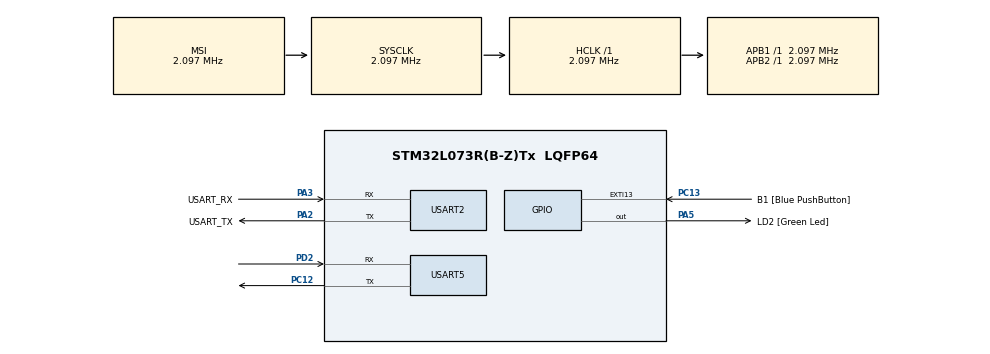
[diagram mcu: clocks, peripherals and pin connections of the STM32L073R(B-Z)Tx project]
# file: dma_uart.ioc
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Dma.Request0=USART5_RX
Dma.Request1=USART5_TX
Dma.Request2=USART2_TX
Dma.USART2_TX.2.Direction=DMA_MEMORY_TO_PERIPH
Dma.USART2_TX.2.Instance=DMA1_Channel4
Dma.USART2_TX.2.MemDataAlignment=DMA_MDATAALIGN_BYTE
Dma.USART2_TX.2.MemInc=DMA_MINC_ENABLE
Dma.USART2_TX.2.Mode=DMA_NORMAL
Dma.USART2_TX.2.PeriphDataAlignment=DMA_PDATAALIGN_BYTE
Dma.USART2_TX.2.PeriphInc=DMA_PINC_DISABLE
Dma.USART2_TX.2.Priority=DMA_PRIORITY_LOW
Dma.USART5_RX.0.Direction=DMA_PERIPH_TO_MEMORY
Dma.USART5_RX.0.Instance=DMA1_Channel2
Dma.USART5_RX.0.MemDataAlignment=DMA_MDATAALIGN_BYTE
Dma.USART5_RX.0.MemInc=DMA_MINC_ENABLE
Dma.USART5_RX.0.Mode=DMA_CIRCULAR
Dma.USART5_RX.0.PeriphDataAlignment=DMA_PDATAALIGN_BYTE
Dma.USART5_RX.0.PeriphInc=DMA_PINC_DISABLE
Dma.USART5_RX.0.Priority=DMA_PRIORITY_LOW
Dma.USART5_TX.1.Direction=DMA_MEMORY_TO_PERIPH
Dma.USART5_TX.1.Instance=DMA1_Channel3
Dma.USART5_TX.1.MemDataAlignment=DMA_MDATAALIGN_BYTE
Dma.USART5_TX.1.MemInc=DMA_MINC_ENABLE
Dma.USART5_TX.1.Mode=DMA_NORMAL
Dma.USART5_TX.1.PeriphDataAlignment=DMA_PDATAALIGN_BYTE
Dma.USART5_TX.1.PeriphInc=DMA_PINC_DISABLE
Dma.USART5_TX.1.Priority=DMA_PRIORITY_LOW
Mcu.Family=STM32L0
Mcu.Name=STM32L073R(B-Z)Tx
Mcu.Package=LQFP64
NVIC.DMA1_Channel2_3_IRQn=true\:0\:0\:false\:false\:true\:false\:true\:true
NVIC.DMA1_Channel4_5_6_7_IRQn=true\:0\:0\:false\:false\:true\:false\:true\:true
NVIC.USART4_5_IRQn=true\:0\:0\:false\:false\:true\:true\:true\:true
PA13.GPIO_Label=TMS
PA13.Mode=Serial_Wire
PA13.Signal=SYS_SWDIO
PA14.GPIO_Label=TCK
PA14.Mode=Serial_Wire
PA14.Signal=SYS_SWCLK
PA2.GPIO_Label=USART_TX
PA2.Mode=Asynchronous
PA2.Signal=USART2_TX
PA3.GPIO_Label=USART_RX
PA3.Mode=Asynchronous
PA3.Signal=USART2_RX
PA5.GPIO_Label=LD2 [Green Led]
PA5.Signal=GPIO_Output
PC12.Mode=Asynchronous
PC12.Signal=USART5_TX
PC13.GPIO_Label=B1 [Blue PushButton]
PC13.GPIO_ModeDefaultEXTI=GPIO_MODE_IT_FALLING
PC13.Signal=GPXTI13
PC14-OSC32_IN.Mode=LSE-External-Oscillator
PC14-OSC32_IN.Signal=RCC_OSC32_IN
PC15-OSC32_OUT.Mode=LSE-External-Oscillator
PC15-OSC32_OUT.Signal=RCC_OSC32_OUT
PD2.Mode=Asynchronous
PD2.Signal=USART5_RX
PH0-OSC_IN.GPIO_Label=MCO
PH0-OSC_IN.Mode=HSE-External-Clock-Source
PH0-OSC_IN.Signal=RCC_OSC_IN
ProjectManager.HeapSize=0x200
ProjectManager.StackSize=0x400
ProjectManager.TargetToolchain=CMake
RCC.AHBFreq_Value=2097000
RCC.APB1Freq_Value=2097000
RCC.APB1TimFreq_Value=2097000
RCC.APB2Freq_Value=2097000
RCC.APB2TimFreq_Value=2097000
RCC.HSE_VALUE=8000000
RCC.HSI16_VALUE=16000000
RCC.HSI48_VALUE=48000000
RCC.HSI_VALUE=16000000
RCC.MSI_VALUE=2097000
RCC.SYSCLKFreq_VALUE=2097000
RCC.VCOOutputFreq_Value=48000000
USART2.VirtualMode-Asynchronous=VM_ASYNC
USART5.VirtualMode-Asynchronous=VM_ASYNC
board=NUCLEO-L073RZ

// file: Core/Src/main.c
/* USER CODE BEGIN Header */
/**
  ******************************************************************************
  * @file           : main.c
  * @brief          : Main program body
  ******************************************************************************
  * @attention
  *
  * Copyright (c) 2026 STMicroelectronics.
  * All rights reserved.
  *
  * This software is licensed under terms that can be found in the LICENSE file
  * in the root directory of this software component.
  * If no LICENSE file comes with this software, it is provided AS-IS.
  *
  ******************************************************************************
  */
/* USER CODE END Header */
#include "main.h"

/* USER CODE BEGIN Includes */
#include "enums.h"
#include "stm32l0xx_hal_def.h"
#include "stm32l0xx_hal_uart.h"
#include "uart.h"
#include <stdint.h>
/* USER CODE END Includes */

UART_HandleTypeDef huart2;
UART_HandleTypeDef huart5;
DMA_HandleTypeDef hdma_usart2_tx;
DMA_HandleTypeDef hdma_usart5_rx;
DMA_HandleTypeDef hdma_usart5_tx;

void SystemClock_Config(void);
static void MX_GPIO_Init(void);
static void MX_DMA_Init(void);
static void MX_USART2_UART_Init(void);
static void MX_USART5_UART_Init(void);

/* USER CODE BEGIN 0 */
struct Message msg;
uint8_t rx_buffer[UART_RX_BUFFER_SIZE];
uint8_t last_rx_pos = 0;
/* USER CODE END 0 */

int main(void)
{

  /* MCU Configuration--------------------------------------------------------*/

  /* Reset of all peripherals, Initializes the Flash interface and the Systick. */
  HAL_Init();

  /* Configure the system clock */
  SystemClock_Config();

  /* Initialize all configured peripherals */
  MX_GPIO_Init();
  MX_DMA_Init();
  MX_USART2_UART_Init();
  MX_USART5_UART_Init();

  /* Infinite loop */
  /* USER CODE BEGIN WHILE */

  // CreateMessage16(&msg, FEEDBACK_SENSOR_TORQUE, (uint16_t)0x1234);
  // CreateMessage8(&msg, FEEDBACK_SENSOR_BATTERY_DATA, (uint8_t)0x56);
  // TransmitMessageDMA(&msg);
  // 0123456789abcdef
  // YXXXXXXXXXXXXYYY
  while (1)
  {
    HAL_GPIO_TogglePin(LD2_GPIO_Port, LD2_Pin);
    HAL_UART_Receive_DMA(&huart5, rx_buffer, sizeof(rx_buffer));
    //HAL_UART_Transmit_DMA(&huart5, rx_buffer, sizeof(rx_buffer));
    struct Message msg;
    uint16_t currentPos = sizeof(rx_buffer) - __HAL_DMA_GET_COUNTER(&hdma_usart5_rx);
    if (currentPos != last_rx_pos)
    {
      for(uint8_t i = last_rx_pos; i != currentPos; i = getBufferPosToWrite(i + 1))
      {
        HAL_UART_Transmit(&huart5, rx_buffer, sizeof(rx_buffer), HAL_MAX_DELAY);
        HAL_Delay(10);

        //HAL_UART_Transmit(&huart5, rx_buffer, sizeof(rx_buffer), HAL_MAX_DELAY);
        if (rx_buffer[i] == 0xAA)
        {
          uint8_t data_index = getBufferPosToWrite(i + 1);
          msg.ID = rx_buffer[data_index];
          rx_buffer[data_index] = 0;
          msg.size = getMessageSize(msg.ID);

          for (uint8_t j = 0; j < msg.size; j++)
          {
            uint8_t data_index = getBufferPosToWrite(i + 2 + j);
            msg.data[j] = rx_buffer[data_index];
            rx_buffer[data_index] = 0;
          }

          rx_buffer[i] = 0;
          i = getBufferPosToWrite(i + 1 + msg.size); // Skip to next message
          HandleIncomingMessage(&msg);
          HAL_Delay(5);
        }
        else
        {
          rx_buffer[i] = 0; // Skipping bytes that are not a beginning of a message and were not cleared when message was parsed (junk probably)
          //logDebug("Skipped invalid byte\r\n", 22);

        }
      }

      last_rx_pos = currentPos;
    }

    HAL_Delay(30);

    /* USER CODE END WHILE */

  }
}

void SystemClock_Config(void)
{
  RCC_OscInitTypeDef RCC_OscInitStruct = {0};
  RCC_ClkInitTypeDef RCC_ClkInitStruct = {0};
  RCC_PeriphCLKInitTypeDef PeriphClkInit = {0};

  /** Configure the main internal regulator output voltage
  */
  __HAL_PWR_VOLTAGESCALING_CONFIG(PWR_REGULATOR_VOLTAGE_SCALE1);

  /** Initializes the RCC Oscillators according to the specified parameters
  * in the RCC_OscInitTypeDef structure.
  */
  RCC_OscInitStruct.OscillatorType = RCC_OSCILLATORTYPE_MSI;
  RCC_OscInitStruct.MSIState = RCC_MSI_ON;
  RCC_OscInitStruct.MSICalibrationValue = 0;
  RCC_OscInitStruct.MSIClockRange = RCC_MSIRANGE_5;
  RCC_OscInitStruct.PLL.PLLState = RCC_PLL_NONE;
  if (HAL_RCC_OscConfig(&RCC_OscInitStruct) != HAL_OK)
  {
    Error_Handler();
  }

  /** Initializes the CPU, AHB and APB buses clocks
  */
  RCC_ClkInitStruct.ClockType = RCC_CLOCKTYPE_HCLK|RCC_CLOCKTYPE_SYSCLK
                              |RCC_CLOCKTYPE_PCLK1|RCC_CLOCKTYPE_PCLK2;
  RCC_ClkInitStruct.SYSCLKSource = RCC_SYSCLKSOURCE_MSI;
  RCC_ClkInitStruct.AHBCLKDivider = RCC_SYSCLK_DIV1;
  RCC_ClkInitStruct.APB1CLKDivider = RCC_HCLK_DIV1;
  RCC_ClkInitStruct.APB2CLKDivider = RCC_HCLK_DIV1;

  if (HAL_RCC_ClockConfig(&RCC_ClkInitStruct, FLASH_LATENCY_0) != HAL_OK)
  {
    Error_Handler();
  }
  PeriphClkInit.PeriphClockSelection = RCC_PERIPHCLK_USART2;
  PeriphClkInit.Usart2ClockSelection = RCC_USART2CLKSOURCE_PCLK1;
  if (HAL_RCCEx_PeriphCLKConfig(&PeriphClkInit) != HAL_OK)
  {
    Error_Handler();
  }
}

static void MX_USART2_UART_Init(void)
{

  huart2.Instance = USART2;
  huart2.Init.BaudRate = 115200;
  huart2.Init.WordLength = UART_WORDLENGTH_8B;
  huart2.Init.StopBits = UART_STOPBITS_1;
  huart2.Init.Parity = UART_PARITY_NONE;
  huart2.Init.Mode = UART_MODE_TX_RX;
  huart2.Init.HwFlowCtl = UART_HWCONTROL_NONE;
  huart2.Init.OverSampling = UART_OVERSAMPLING_16;
  huart2.Init.OneBitSampling = UART_ONE_BIT_SAMPLE_DISABLE;
  huart2.AdvancedInit.AdvFeatureInit = UART_ADVFEATURE_NO_INIT;
  if (HAL_UART_Init(&huart2) != HAL_OK)
  {
    Error_Handler();
  }

}

static void MX_USART5_UART_Init(void)
{

  huart5.Instance = USART5;
  huart5.Init.BaudRate = 115200;
  huart5.Init.WordLength = UART_WORDLENGTH_8B;
  huart5.Init.StopBits = UART_STOPBITS_1;
  huart5.Init.Parity = UART_PARITY_NONE;
  huart5.Init.Mode = UART_MODE_TX_RX;
  huart5.Init.HwFlowCtl = UART_HWCONTROL_NONE;
  huart5.Init.OverSampling = UART_OVERSAMPLING_16;
  huart5.Init.OneBitSampling = UART_ONE_BIT_SAMPLE_DISABLE;
  huart5.AdvancedInit.AdvFeatureInit = UART_ADVFEATURE_NO_INIT;
  if (HAL_UART_Init(&huart5) != HAL_OK)
  {
    Error_Handler();
  }

}

static void MX_DMA_Init(void)
{

  /* DMA controller clock enable */
  __HAL_RCC_DMA1_CLK_ENABLE();

  /* DMA interrupt init */
  /* DMA1_Channel2_3_IRQn interrupt configuration */
  HAL_NVIC_SetPriority(DMA1_Channel2_3_IRQn, 0, 0);
  HAL_NVIC_EnableIRQ(DMA1_Channel2_3_IRQn);
  /* DMA1_Channel4_5_6_7_IRQn interrupt configuration */
  HAL_NVIC_SetPriority(DMA1_Channel4_5_6_7_IRQn, 0, 0);
  HAL_NVIC_EnableIRQ(DMA1_Channel4_5_6_7_IRQn);

}

static void MX_GPIO_Init(void)
{
  GPIO_InitTypeDef GPIO_InitStruct = {0};

  /* GPIO Ports Clock Enable */
  __HAL_RCC_GPIOC_CLK_ENABLE();
  __HAL_RCC_GPIOH_CLK_ENABLE();
  __HAL_RCC_GPIOA_CLK_ENABLE();
  __HAL_RCC_GPIOD_CLK_ENABLE();

  /*Configure GPIO pin Output Level */
  HAL_GPIO_WritePin(LD2_GPIO_Port, LD2_Pin, GPIO_PIN_RESET);

  /*Configure GPIO pin : B1_Pin */
  GPIO_InitStruct.Pin = B1_Pin;
  GPIO_InitStruct.Mode = GPIO_MODE_IT_FALLING;
  GPIO_InitStruct.Pull = GPIO_NOPULL;
  HAL_GPIO_Init(B1_GPIO_Port, &GPIO_InitStruct);

  /*Configure GPIO pin : LD2_Pin */
  GPIO_InitStruct.Pin = LD2_Pin;
  GPIO_InitStruct.Mode = GPIO_MODE_OUTPUT_PP;
  GPIO_InitStruct.Pull = GPIO_NOPULL;
  GPIO_InitStruct.Speed = GPIO_SPEED_FREQ_LOW;
  HAL_GPIO_Init(LD2_GPIO_Port, &GPIO_InitStruct);

}

void Error_Handler(void)
{
  __disable_irq();
  while (1)
  {
  }
}
